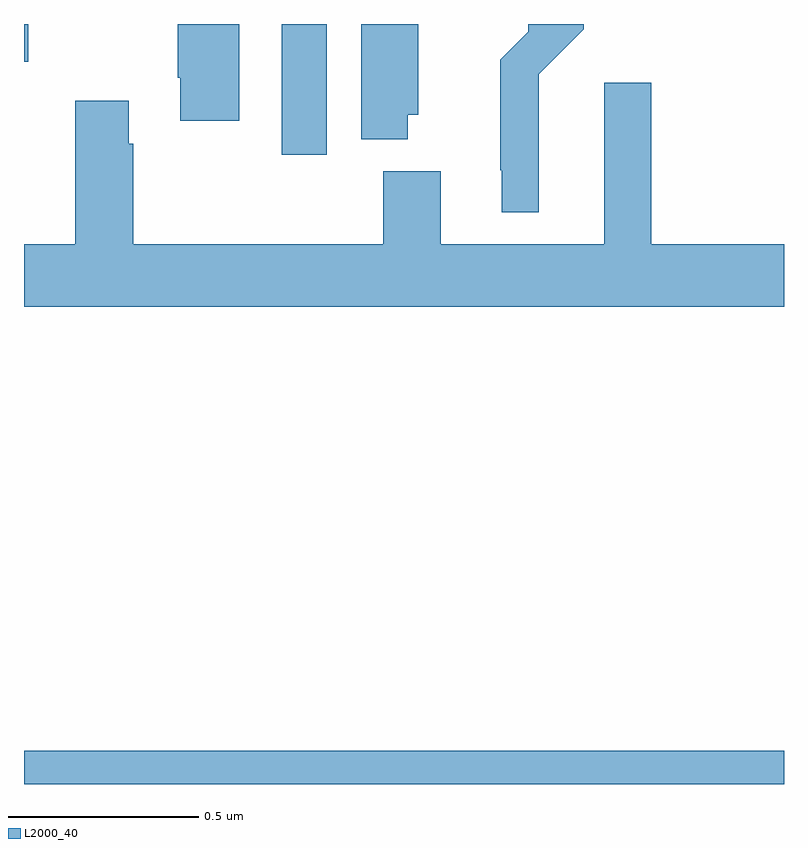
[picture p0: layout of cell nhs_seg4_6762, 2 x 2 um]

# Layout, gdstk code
import gdstk
lib = gdstk.Library(unit=1e-6, precision=1e-09)
def R(c, l, rs):  # rectangles x0, y0, x1, y1
    for r in rs: c.add(gdstk.rectangle(r[:2], r[2:], *l))
def P(c, l, *ps):  # polygons
    for p in ps: c.add(gdstk.Polygon(p, *l))
L2000_40 = (2000, 40)

nhs_seg4_6762 = lib.new_cell('nhs_seg4_6762')
R(nhs_seg4_6762, L2000_40, [(194,792.9,196,792.988), (194.678,794.556,194.797,794.9), (194,794.801,194.011,794.9)])
P(nhs_seg4_6762, L2000_40, [(195.01,794.661),(195.037,794.661),(195.037,794.9),(194.888,794.9),(194.888,794.597),(195.01,794.597)],
  [(195.355,794.768),(195.473,794.886),(195.473,794.9),(195.327,794.9),(195.327,794.88),(195.253,794.806),(195.253,794.515),(195.257,794.515),(195.257,794.405),(195.355,794.405)],
  [(194.566,794.9),(194.404,794.9),(194.404,794.758),(194.411,794.758),(194.411,794.646),(194.566,794.646)],
  [(196,794.32),(195.65,794.32),(195.65,794.746),(195.527,794.746),(195.527,794.32),(195.097,794.32),(195.097,794.512),(194.945,794.512),(194.945,794.32),(194.288,794.32),(194.288,794.585),(194.275,794.585),(194.275,794.698),(194.135,794.698),(194.135,794.32),(194,794.32),(194,794.156),(196,794.156)])

lib.write_gds('nhs_seg4_6762.gds')
